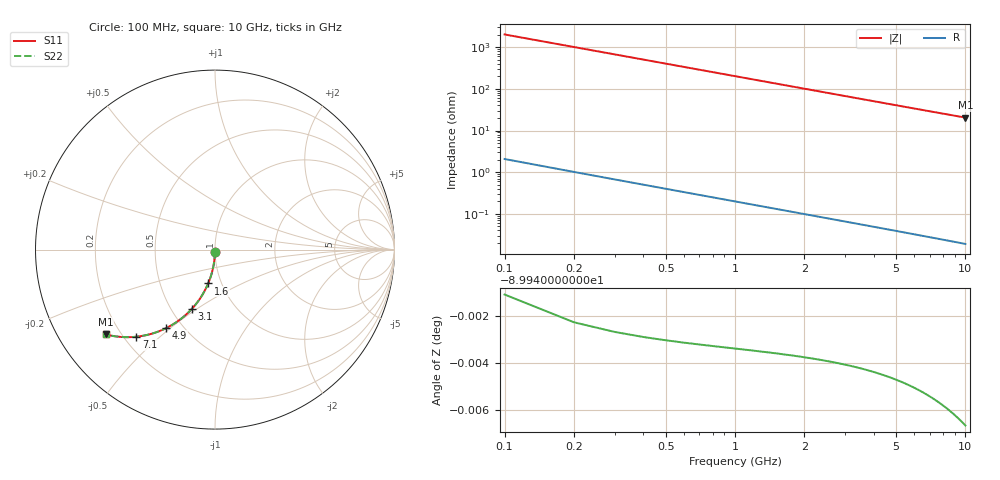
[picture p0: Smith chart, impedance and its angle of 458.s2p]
# Hz S RI R 50.00
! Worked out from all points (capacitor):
!   100 points, 100 MHz to 10 GHz, reference 50 ohm
!   read as one part in shunt: C = 790 fF near 100 MHz
!   lowest |Z| = 20.4 ohm at 10 GHz (marker M1)
!   S11 on the Smith chart (normalised r, x): 100 MHz: 1.00, -0.02; 1.6 GHz: 0.86, -0.34; 3.1 GHz: 0.63, -0.48; 4.9 GHz: 0.41, -0.48; 7.1 GHz: 0.25, -0.42; 10 GHz: 0.14, -0.34
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1e8  -0.000119 -0.0123  0.9998 -0.0126  0.9998 -0.0126  -0.000119 -0.0123
2e8  -0.000593 -0.0245  0.9993 -0.0251  0.9993 -0.0251  -0.000593 -0.0245
3e8  -0.00137 -0.0368  0.9985 -0.0376  0.9985 -0.0376  -0.00137 -0.0368
4e8  -0.00246 -0.049  0.9974 -0.0501  0.9974 -0.0501  -0.00246 -0.049
5e8  -0.00385 -0.0611  0.9961 -0.0625  0.9961 -0.0625  -0.00385 -0.0611
6e8  -0.00554 -0.0732  0.9944 -0.0749  0.9944 -0.0749  -0.00554 -0.0732
7e8  -0.00753 -0.0852  0.9924 -0.0872  0.9924 -0.0872  -0.00753 -0.0852
9e8  -0.0124 -0.109  0.9875 -0.1116  0.9875 -0.1116  -0.0124 -0.109
1.2e9  -0.0218 -0.144  0.9781 -0.1474  0.9781 -0.1474  -0.0218 -0.144
1.6e9  -0.0381 -0.1887  0.9618 -0.1933  0.9618 -0.1933  -0.0381 -0.1887
1.8e9  -0.0477 -0.2102  0.9522 -0.2153  0.9522 -0.2153  -0.0477 -0.2102
2.4e9  -0.0817 -0.2701  0.9182 -0.277  0.9182 -0.277  -0.0817 -0.2701
3.1e9  -0.1292 -0.3306  0.8706 -0.3395  0.8706 -0.3395  -0.1292 -0.3306
3.4e9  -0.1515 -0.3532  0.8484 -0.363  0.8484 -0.363  -0.1515 -0.3532
4.1e9  -0.2061 -0.3982  0.7937 -0.41  0.7937 -0.41  -0.2061 -0.3982
4.9e9  -0.2706 -0.4367  0.7292 -0.4509  0.7292 -0.4509  -0.2706 -0.4367
5.1e9  -0.2867 -0.4444  0.7131 -0.4591  0.7131 -0.4591  -0.2867 -0.4444
5.9e9  -0.3499 -0.4679  0.6499 -0.485  0.6499 -0.485  -0.3499 -0.4679
6.7e9  -0.4098 -0.4816  0.5899 -0.5011  0.5899 -0.5011  -0.4098 -0.4816
7.1e9  -0.4382 -0.4853  0.5614 -0.506  0.5614 -0.506  -0.4382 -0.4853
8.4e9  -0.5223 -0.4867  0.4772 -0.5113  0.4772 -0.5113  -0.5223 -0.4867
1e10  -0.6084 -0.4728  0.3911 -0.5023  0.3911 -0.5023  -0.6084 -0.4728
